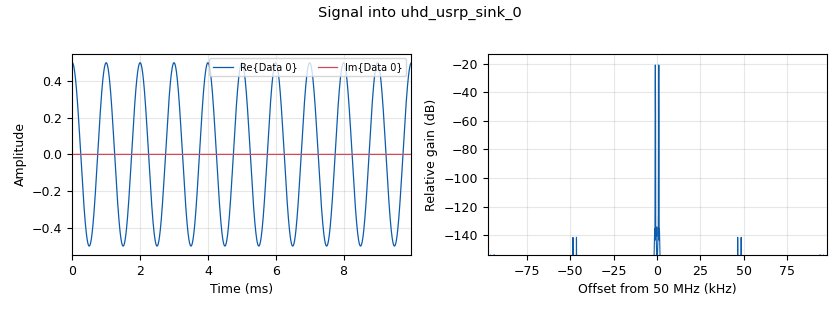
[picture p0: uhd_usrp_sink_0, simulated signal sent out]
options:
  parameters:
    generate_options: qt_gui
    id: practicaDemoUSRP
    output_language: python
    title: Not titled yet
  states: {}

blocks:
- name: GRX
  id: variable_qtgui_range
  parameters:
    start: '0'
    step: '0.5'
    stop: '30'
    value: '1'
  states: {}
- name: GTX
  id: variable_qtgui_range
  parameters:
    start: '0'
    step: '1'
    stop: '31'
    value: '1'
  states: {}
- name: fc
  id: variable_qtgui_range
  parameters:
    start: '50000000'
    step: 1e6
    stop: 2.2e9
    value: 50e6
  states: {}
- name: k_imag
  id: variable_qtgui_range
  parameters:
    start: '0'
    step: '1'
    stop: '1'
    value: '0'
  states: {}
- name: k_real
  id: variable_qtgui_range
  parameters:
    start: '0'
    step: '1'
    stop: '1'
    value: '1'
  states: {}
- name: samp_rate
  id: variable
  parameters:
    value: 12.5e6/64
  states: {}
- name: analog_sig_source_x_0
  id: analog_sig_source_x
  parameters:
    amp: 1/2
    freq: '1000'
    offset: '0'
    phase: '0'
    samp_rate: samp_rate
    type: float
    waveform: analog.GR_COS_WAVE
  states: {}
- name: analog_sig_source_x_0_0
  id: analog_sig_source_x
  parameters:
    amp: 1/2
    freq: '4000'
    offset: '0'
    phase: '0'
    samp_rate: samp_rate
    type: float
    waveform: analog.GR_SQR_WAVE
  states: {}
- name: blocks_float_to_complex_0
  id: blocks_float_to_complex
  parameters: {}
  states: {}
- name: blocks_multiply_const_vxx_0
  id: blocks_multiply_const_vxx
  parameters:
    const: k_real
    type: float
  states: {}
- name: blocks_multiply_const_vxx_0_0_0
  id: blocks_multiply_const_vxx
  parameters:
    const: k_imag
    type: float
  states: {}
- name: blocks_throttle_0
  id: blocks_throttle
  parameters:
    samples_per_second: samp_rate
    type: float
  states: {}
- name: qtgui_time_sink_x_0
  id: qtgui_time_sink_x
  parameters:
    nconnections: '2'
    size: '1024'
    srate: samp_rate
    type: complex
  states: {}
- name: uhd_usrp_sink_0
  id: uhd_usrp_sink
  parameters:
    ant0: '"TX/RX"'
    center_freq0: fc
    gain0: GTX
    samp_rate: samp_rate
    sync: pc_clock
    type: fc32
  states: {}
- name: uhd_usrp_source_0
  id: uhd_usrp_source
  parameters:
    ant0: '"RX2"'
    center_freq0: fc
    gain0: GRX
    samp_rate: samp_rate
    sync: pc_clock
    type: fc32
  states: {}

connections:
- [analog_sig_source_x_0, '0', blocks_throttle_0, '0']
- [analog_sig_source_x_0_0, '0', blocks_multiply_const_vxx_0_0_0, '0']
- [blocks_float_to_complex_0, '0', qtgui_time_sink_x_0, '0']
- [blocks_float_to_complex_0, '0', uhd_usrp_sink_0, '0']
- [blocks_multiply_const_vxx_0, '0', blocks_float_to_complex_0, '0']
- [blocks_multiply_const_vxx_0_0_0, '0', blocks_float_to_complex_0, '1']
- [blocks_throttle_0, '0', blocks_multiply_const_vxx_0, '0']
- [uhd_usrp_source_0, '0', qtgui_time_sink_x_0, '1']

metadata:
  file_format: 1
